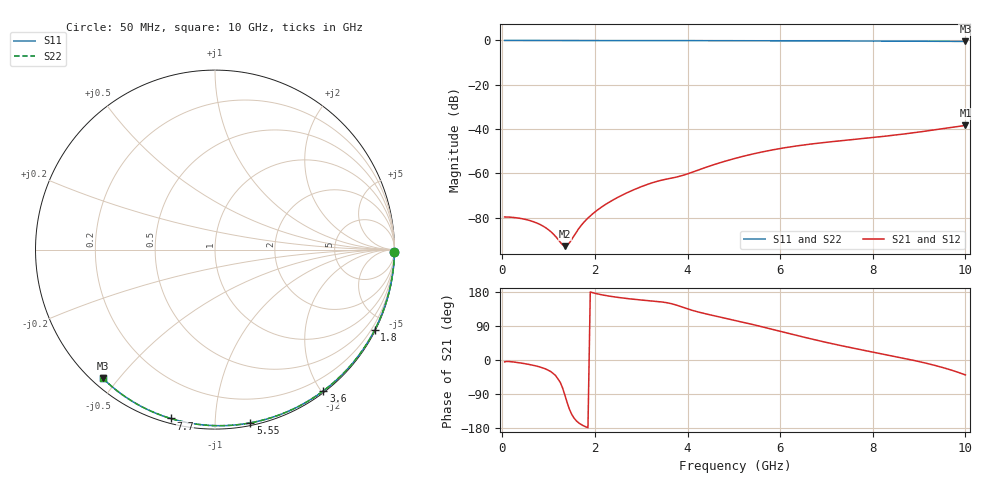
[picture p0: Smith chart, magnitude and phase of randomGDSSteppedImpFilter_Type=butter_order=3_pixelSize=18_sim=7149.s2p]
! freq	dB(S11)	phase(S11)	dB(S12)	phase(S12)
!  dB(S21)	phase(S21)	dB(S22)	phase(S22)
!S-par simulation data
#  GHz  S  DB  R 50
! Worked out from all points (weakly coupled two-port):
!   200 points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, 50 MHz to 10 GHz, reference 50 ohm
!   highest |S21| = -38.40 dB at 10 GHz (marker M1); lowest = -92.9 dB at 1.35 GHz (marker M2)
!   lowest |S11| = -0.4 dB at 10 GHz (marker M3), VSWR 39.46, Z = 1.53 - j22.7 ohm
!   |S11| at or under -10 dB: nowhere
!   |S22| runs from -0.4 to 0.0 dB; largest |S21 - S12| = 0
!   S11 on the Smith chart (normalised r, x): 50 MHz: open; 1.8 GHz: 0.04, -4.19; 3.6 GHz: 0.02, -2.03; 5.55 GHz: 0.02, -1.22; 7.7 GHz: 0.02, -0.77; 10 GHz: 0.03, -0.45
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0.05  -0.00 -0.8  -79.71 -4.8  -79.71 -4.8  -0.00 -0.8
0.7  -0.01 -10.6  -82.07 -14.9  -82.07 -14.9  -0.01 -10.6
1.35  -0.03 -20.2  -92.91 -92.0  -92.91 -92.0  -0.03 -20.2
1.75  -0.03 -26.1  -82.39 -173.4  -82.39 -173.4  -0.03 -26.1
1.8  -0.03 -26.9  -81.26 -176.2  -81.26 -176.2  -0.03 -26.9
1.85  -0.03 -27.6  -80.21 -178.5  -80.21 -178.5  -0.03 -27.6
2.15  -0.04 -32.0  -75.15 172.0  -75.15 172.0  -0.04 -32.0
2.35  -0.04 -34.8  -72.52 167.8  -72.52 167.8  -0.04 -34.8
2.55  -0.05 -37.7  -70.25 164.4  -70.25 164.4  -0.05 -37.7
3  -0.06 -44.1  -66.05 158.3  -66.05 158.3  -0.06 -44.1
3.4  -0.07 -49.7  -63.31 153.8  -63.31 153.8  -0.07 -49.7
3.6  -0.07 -52.5  -62.39 149.9  -62.39 149.9  -0.07 -52.5
3.95  -0.08 -57.3  -60.61 137.0  -60.61 137.0  -0.08 -57.3
4.55  -0.10 -65.4  -56.22 117.5  -56.22 117.5  -0.10 -65.4
5.05  -0.11 -72.0  -53.13 104.0  -53.13 104.0  -0.11 -72.0
5.55  -0.13 -78.4  -50.62 89.4  -50.62 89.4  -0.13 -78.5
6.1  -0.15 -85.4  -48.46 72.7  -48.46 72.7  -0.15 -85.4
6.7  -0.18 -92.8  -46.69 54.8  -46.69 54.8  -0.18 -92.8
7.7  -0.24 -104.7  -44.48 28.2  -44.48 28.2  -0.24 -104.7
8.35  -0.28 -112.3  -43.04 12.5  -43.04 12.5  -0.28 -112.3
9.15  -0.35 -121.4  -40.93 -8.4  -40.93 -8.4  -0.35 -121.4
10  -0.44 -131.1  -38.40 -39.4  -38.40 -39.4  -0.44 -131.1
